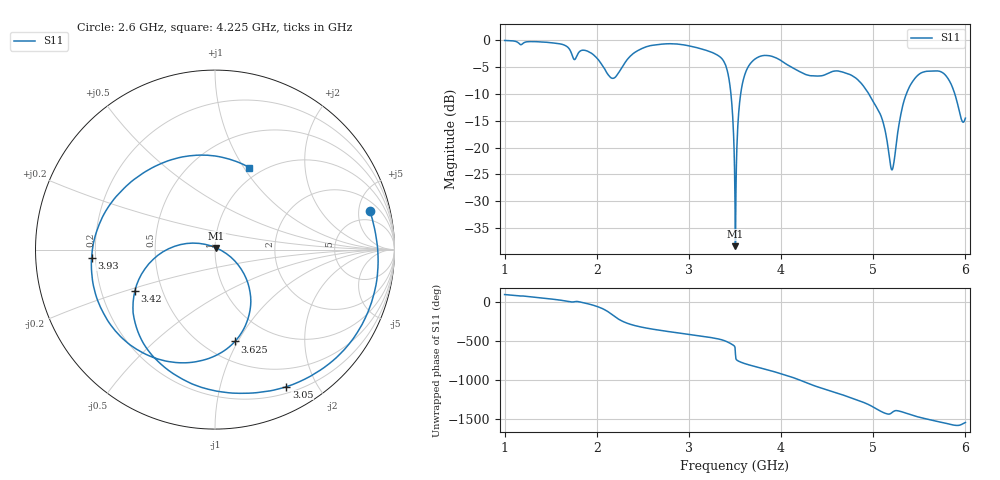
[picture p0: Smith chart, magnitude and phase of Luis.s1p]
!Agilent Technologies,E8364B,MY43040633,A.07.50.37
!Agilent E8364B: A.07.50.37
!Date: Tuesday, December 16, 2025 17:04:58
!Correction: S11(Full 1 Port(1))
!S1P File: Measurement: S11:
# Hz S  RI  R 50
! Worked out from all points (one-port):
!   1001 points, 1 GHz to 6 GHz, reference 50 ohm
!   lowest |S11| = -38.3 dB at 3.505 GHz (marker M1), VSWR 1.02, Z = 50.8 + j0.943 ohm
!   |S11| at or under -10 dB: 3.456 GHz to 3.562 GHz (106.4 MHz wide, 3.03 % of centre); 4.951 GHz to 5.36 GHz (409.8 MHz wide, 7.95 % of centre); 5.884 GHz to end of sweep
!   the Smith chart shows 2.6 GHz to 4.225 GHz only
!   S11 on the Smith chart (normalised r, x): 2.6 GHz: 3.25, +6.65; 3.05 GHz: 0.27, -1.61; 3.42 GHz: 0.35, -0.21; 3.625 GHz: 0.69, -0.97; 3.93 GHz: 0.18, -0.03; 4.225 GHz: 0.87, +1.06
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1e9  -0.1414 0.9771
1.625e9  0.8388 0.3485
1.89e9  0.7579 -0.2278
2.04e9  0.1922 -0.5836
2.16e9  -0.3982 -0.1906
2.25e9  -0.3469 0.3805
2.385e9  0.2756 0.6794
2.6e9  0.8634 0.2136
2.875e9  0.7543 -0.5165
3.05e9  0.3978 -0.7638
3.28e9  -0.1821 -0.7214
3.42e9  -0.4462 -0.229
3.5e9  -0.0233 0.0211
3.505e9  0.00778 0.00928
3.625e9  0.1107 -0.512
3.76e9  -0.3692 -0.5906
3.93e9  -0.6876 -0.0442
4.125e9  -0.2039 0.5114
4.225e9  0.1909 0.4571
4.375e9  0.4615 -0.0113
4.55e9  0.1664 -0.4782
4.75e9  -0.3978 -0.2602
4.955e9  -0.1489 0.2735
5.205e9  0.0579 0.0221
5.375e9  0.3387 0.023
5.65e9  0.0564 -0.5102
5.835e9  -0.2724 -0.2977
6e9  -0.0588 -0.1778
